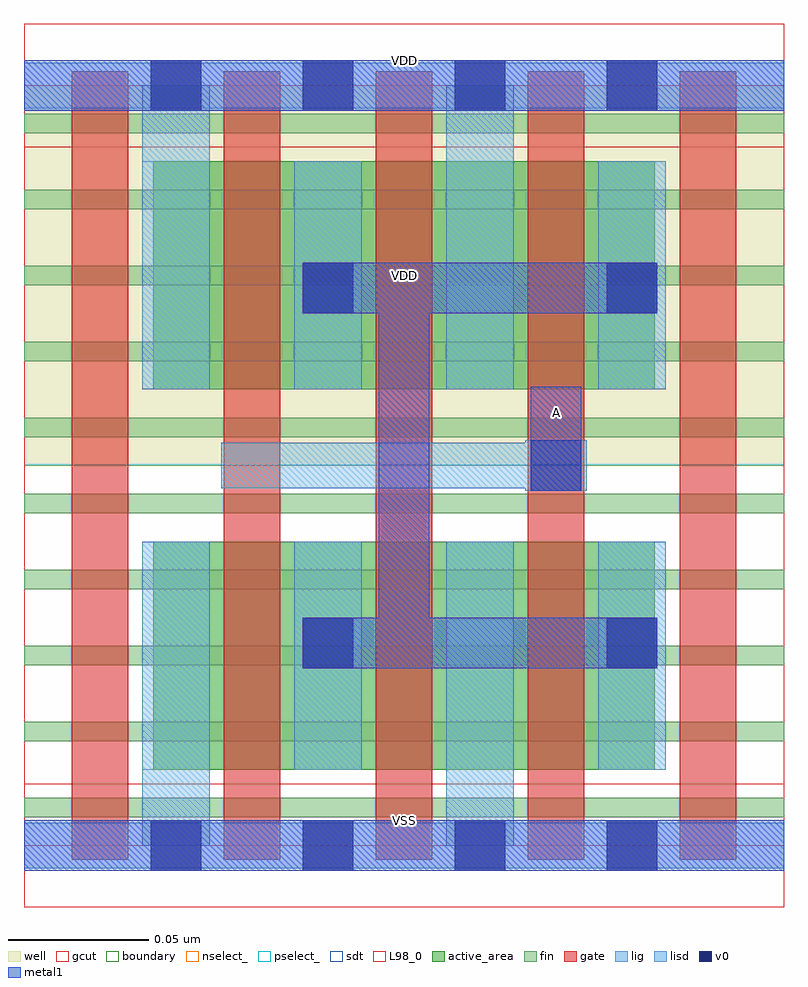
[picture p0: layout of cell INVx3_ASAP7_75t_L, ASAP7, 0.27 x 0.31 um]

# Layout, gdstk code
import gdstk
lib = gdstk.Library(unit=1e-6, precision=2.5e-10)
def R(c, l, rs):  # rectangles x0, y0, x1, y1
    for r in rs: c.add(gdstk.rectangle(r[:2], r[2:], *l))
def A(c, l, x, y, w, h, nx, ny, dx, dy):  # array of equal rectangles
    R(c, l, [(x+i*dx, y+j*dy, x+i*dx+w, y+j*dy+h) for i in range(nx) for j in range(ny)])
def P(c, l, *ps):  # polygons
    for p in ps: c.add(gdstk.Polygon(p, *l))
well = (1, 0)
fin = (2, 0)
gate = (7, 0)
gcut = (10, 0)
active_area = (11, 0)
nselect_ = (12, 0)
pselect_ = (13, 0)
lig = (16, 0)
lisd = (17, 0)
v0 = (18, 0)
metal1 = (19, 0)
sdt = (88, 0)
L98_0 = (98, 0)
boundary = (100, 0)

invx3_asap7_75t_l = lib.new_cell('INVx3_ASAP7_75t_L')
R(invx3_asap7_75t_l, well, [(0,0.135,0.27,0.27)])
A(invx3_asap7_75t_l, fin, 0, 0.01, 0.27, 0.007, 1, 10, 0, 0.027)
A(invx3_asap7_75t_l, gate, 0.017, -0.005, 0.02, 0.28, 5, 1, 0.054, 0)
R(invx3_asap7_75t_l, gcut, [(0,-0.022,0.27,0.022), (0,0.248,0.27,0.292)])
R(invx3_asap7_75t_l, active_area, [(0.046,0.027,0.224,0.108), (0.046,0.162,0.224,0.243)])
R(invx3_asap7_75t_l, nselect_, [(0,0,0.27,0.135)])
R(invx3_asap7_75t_l, pselect_, [(0,0.135,0.27,0.27)])
R(invx3_asap7_75t_l, lig, [(0,-0.008,0.27,0.008), (0.178,0.126,0.2,0.144), (0.07,0.127,0.2,0.143), (0,0.262,0.27,0.278)])
R(invx3_asap7_75t_l, lisd, [(0.042,0,0.066,0.108), (0.042,0,0.066,0.108), (0.15,0,0.174,0.108), (0.15,0,0.174,0.108), (0.096,0.027,0.12,0.108), (0.204,0.027,0.228,0.108), (0.042,0.162,0.066,0.27), (0.042,0.162,0.066,0.27), (0.096,0.162,0.12,0.243), (0.15,0.162,0.174,0.27), (0.15,0.162,0.174,0.27), (0.204,0.162,0.228,0.243)])
A(invx3_asap7_75t_l, v0, 0.045, -0.009, 0.018, 0.018, 4, 2, 0.054, 0.27)
R(invx3_asap7_75t_l, v0, [(0.099,0.063,0.117,0.081), (0.207,0.063,0.225,0.081), (0.18,0.126,0.198,0.144), (0.099,0.189,0.117,0.207), (0.207,0.189,0.225,0.207)])
R(invx3_asap7_75t_l, metal1, [(0,-0.009,0.27,0.009), (0.099,0.063,0.117,0.081), (0.207,0.063,0.225,0.081), (0.18,0.126,0.198,0.144), (0.18,0.126,0.198,0.163), (0.099,0.189,0.117,0.207), (0.207,0.189,0.225,0.207), (0,0.261,0.27,0.279)])
P(invx3_asap7_75t_l, metal1, [(0.225,0.207),(0.099,0.207),(0.099,0.189),(0.126,0.189),(0.126,0.081),(0.099,0.081),(0.099,0.063),(0.225,0.063),(0.225,0.081),(0.144,0.081),(0.144,0.189),(0.225,0.189)])
A(invx3_asap7_75t_l, sdt, 0.042, 0.027, 0.024, 0.081, 3, 2, 0.054, 0.135)
R(invx3_asap7_75t_l, sdt, [(0.042,0.027,0.066,0.108), (0.15,0.027,0.174,0.108), (0.204,0.027,0.228,0.108), (0.042,0.162,0.066,0.243), (0.15,0.162,0.174,0.243), (0.204,0.162,0.228,0.243)])
R(invx3_asap7_75t_l, L98_0, [(0,0,0.27,0.27)])
R(invx3_asap7_75t_l, boundary, [(0,0,0.27,0.27)])
invx3_asap7_75t_l.add(gdstk.Label('VDD', (0.135,0.2025), layer=1, texttype=251))
invx3_asap7_75t_l.add(gdstk.Label('VSS', (0.135,-0.0675), layer=3, texttype=251))
invx3_asap7_75t_l.add(gdstk.Label('VSS', (0.135,0.009), layer=19, texttype=251))
invx3_asap7_75t_l.add(gdstk.Label('VDD', (0.135,0.279), layer=19, texttype=251))
invx3_asap7_75t_l.add(gdstk.Label('A', (0.189,0.154), layer=19, texttype=251))
invx3_asap7_75t_l.add(gdstk.Label('Y', (0.135,0.198), layer=19, texttype=251))

lib.write_gds('INVx3_ASAP7_75t_L.gds')
